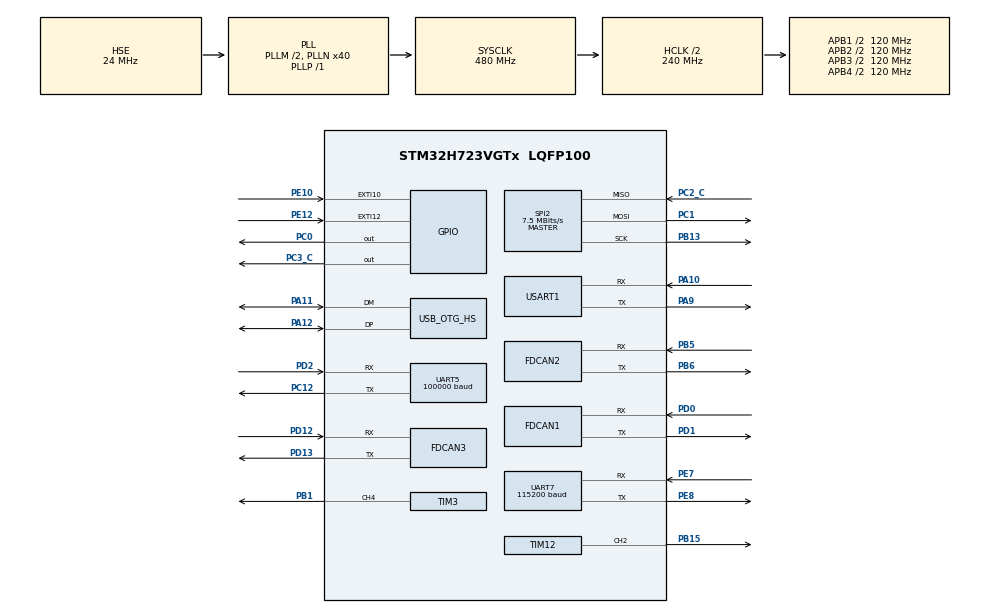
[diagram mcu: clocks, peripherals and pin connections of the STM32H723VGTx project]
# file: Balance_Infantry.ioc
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Dma.Request0=SPI2_RX
Dma.Request1=SPI2_TX
Dma.Request2=UART5_RX
Dma.Request3=USART1_RX
Dma.Request4=UART7_RX
Dma.Request5=UART7_TX
Dma.Request6=USART1_TX
Dma.SPI2_RX.0.Direction=DMA_PERIPH_TO_MEMORY
Dma.SPI2_RX.0.EventEnable=DISABLE
Dma.SPI2_RX.0.FIFOMode=DMA_FIFOMODE_DISABLE
Dma.SPI2_RX.0.Instance=DMA1_Stream3
Dma.SPI2_RX.0.MemDataAlignment=DMA_MDATAALIGN_BYTE
Dma.SPI2_RX.0.MemInc=DMA_MINC_ENABLE
Dma.SPI2_RX.0.Mode=DMA_NORMAL
Dma.SPI2_RX.0.PeriphDataAlignment=DMA_PDATAALIGN_BYTE
Dma.SPI2_RX.0.PeriphInc=DMA_PINC_DISABLE
Dma.SPI2_RX.0.Polarity=HAL_DMAMUX_REQ_GEN_RISING
Dma.SPI2_RX.0.Priority=DMA_PRIORITY_VERY_HIGH
Dma.SPI2_RX.0.RequestNumber=1
Dma.SPI2_RX.0.SignalID=NONE
Dma.SPI2_RX.0.SyncEnable=DISABLE
Dma.SPI2_RX.0.SyncPolarity=HAL_DMAMUX_SYNC_NO_EVENT
Dma.SPI2_RX.0.SyncRequestNumber=1
Dma.SPI2_RX.0.SyncSignalID=NONE
Dma.SPI2_TX.1.Direction=DMA_MEMORY_TO_PERIPH
Dma.SPI2_TX.1.EventEnable=DISABLE
Dma.SPI2_TX.1.FIFOMode=DMA_FIFOMODE_DISABLE
Dma.SPI2_TX.1.Instance=DMA1_Stream2
Dma.SPI2_TX.1.MemDataAlignment=DMA_MDATAALIGN_BYTE
Dma.SPI2_TX.1.MemInc=DMA_MINC_ENABLE
Dma.SPI2_TX.1.Mode=DMA_NORMAL
Dma.SPI2_TX.1.PeriphDataAlignment=DMA_PDATAALIGN_BYTE
Dma.SPI2_TX.1.PeriphInc=DMA_PINC_DISABLE
Dma.SPI2_TX.1.Polarity=HAL_DMAMUX_REQ_GEN_RISING
Dma.SPI2_TX.1.Priority=DMA_PRIORITY_HIGH
Dma.SPI2_TX.1.RequestNumber=1
Dma.SPI2_TX.1.SignalID=NONE
Dma.SPI2_TX.1.SyncEnable=DISABLE
Dma.SPI2_TX.1.SyncPolarity=HAL_DMAMUX_SYNC_NO_EVENT
Dma.SPI2_TX.1.SyncRequestNumber=1
Dma.SPI2_TX.1.SyncSignalID=NONE
Dma.UART5_RX.2.Direction=DMA_PERIPH_TO_MEMORY
Dma.UART5_RX.2.EventEnable=DISABLE
Dma.UART5_RX.2.FIFOMode=DMA_FIFOMODE_DISABLE
Dma.UART5_RX.2.Instance=DMA1_Stream1
Dma.UART5_RX.2.MemDataAlignment=DMA_MDATAALIGN_BYTE
Dma.UART5_RX.2.MemInc=DMA_MINC_ENABLE
Dma.UART5_RX.2.Mode=DMA_NORMAL
Dma.UART5_RX.2.PeriphDataAlignment=DMA_PDATAALIGN_BYTE
Dma.UART5_RX.2.PeriphInc=DMA_PINC_DISABLE
Dma.UART5_RX.2.Polarity=HAL_DMAMUX_REQ_GEN_RISING
Dma.UART5_RX.2.Priority=DMA_PRIORITY_LOW
Dma.UART5_RX.2.RequestNumber=1
Dma.UART5_RX.2.SignalID=NONE
Dma.UART5_RX.2.SyncEnable=DISABLE
Dma.UART5_RX.2.SyncPolarity=HAL_DMAMUX_SYNC_NO_EVENT
Dma.UART5_RX.2.SyncRequestNumber=1
Dma.UART5_RX.2.SyncSignalID=NONE
Dma.UART7_RX.4.Direction=DMA_PERIPH_TO_MEMORY
Dma.UART7_RX.4.EventEnable=DISABLE
Dma.UART7_RX.4.FIFOMode=DMA_FIFOMODE_DISABLE
Dma.UART7_RX.4.Instance=DMA2_Stream1
Dma.UART7_RX.4.MemDataAlignment=DMA_MDATAALIGN_BYTE
Dma.UART7_RX.4.MemInc=DMA_MINC_ENABLE
Dma.UART7_RX.4.Mode=DMA_NORMAL
Dma.UART7_RX.4.PeriphDataAlignment=DMA_PDATAALIGN_BYTE
Dma.UART7_RX.4.PeriphInc=DMA_PINC_DISABLE
Dma.UART7_RX.4.Polarity=HAL_DMAMUX_REQ_GEN_RISING
Dma.UART7_RX.4.Priority=DMA_PRIORITY_HIGH
Dma.UART7_RX.4.RequestNumber=1
Dma.UART7_RX.4.SignalID=NONE
Dma.UART7_RX.4.SyncEnable=DISABLE
Dma.UART7_RX.4.SyncPolarity=HAL_DMAMUX_SYNC_NO_EVENT
Dma.UART7_RX.4.SyncRequestNumber=1
Dma.UART7_RX.4.SyncSignalID=NONE
Dma.UART7_TX.5.Direction=DMA_MEMORY_TO_PERIPH
Dma.UART7_TX.5.EventEnable=DISABLE
Dma.UART7_TX.5.FIFOMode=DMA_FIFOMODE_DISABLE
Dma.UART7_TX.5.Instance=DMA2_Stream6
Dma.UART7_TX.5.MemDataAlignment=DMA_MDATAALIGN_BYTE
Dma.UART7_TX.5.MemInc=DMA_MINC_ENABLE
Dma.UART7_TX.5.Mode=DMA_NORMAL
Dma.UART7_TX.5.PeriphDataAlignment=DMA_PDATAALIGN_BYTE
Dma.UART7_TX.5.PeriphInc=DMA_PINC_DISABLE
Dma.UART7_TX.5.Polarity=HAL_DMAMUX_REQ_GEN_RISING
Dma.UART7_TX.5.Priority=DMA_PRIORITY_VERY_HIGH
Dma.UART7_TX.5.RequestNumber=1
Dma.UART7_TX.5.SignalID=NONE
Dma.UART7_TX.5.SyncEnable=DISABLE
Dma.UART7_TX.5.SyncPolarity=HAL_DMAMUX_SYNC_NO_EVENT
Dma.UART7_TX.5.SyncRequestNumber=1
Dma.UART7_TX.5.SyncSignalID=NONE
Dma.USART1_RX.3.Direction=DMA_PERIPH_TO_MEMORY
Dma.USART1_RX.3.EventEnable=DISABLE
Dma.USART1_RX.3.FIFOMode=DMA_FIFOMODE_DISABLE
Dma.USART1_RX.3.Instance=DMA1_Stream0
Dma.USART1_RX.3.MemDataAlignment=DMA_MDATAALIGN_BYTE
Dma.USART1_RX.3.MemInc=DMA_MINC_ENABLE
Dma.USART1_RX.3.Mode=DMA_NORMAL
Dma.USART1_RX.3.PeriphDataAlignment=DMA_PDATAALIGN_BYTE
Dma.USART1_RX.3.PeriphInc=DMA_PINC_DISABLE
Dma.USART1_RX.3.Polarity=HAL_DMAMUX_REQ_GEN_RISING
Dma.USART1_RX.3.Priority=DMA_PRIORITY_MEDIUM
Dma.USART1_RX.3.RequestNumber=1
Dma.USART1_RX.3.SignalID=NONE
Dma.USART1_RX.3.SyncEnable=DISABLE
Dma.USART1_RX.3.SyncPolarity=HAL_DMAMUX_SYNC_NO_EVENT
Dma.USART1_RX.3.SyncRequestNumber=1
Dma.USART1_RX.3.SyncSignalID=NONE
Dma.USART1_TX.6.Direction=DMA_MEMORY_TO_PERIPH
Dma.USART1_TX.6.EventEnable=DISABLE
Dma.USART1_TX.6.FIFOMode=DMA_FIFOMODE_DISABLE
Dma.USART1_TX.6.Instance=DMA1_Stream4
Dma.USART1_TX.6.MemDataAlignment=DMA_MDATAALIGN_BYTE
Dma.USART1_TX.6.MemInc=DMA_MINC_ENABLE
Dma.USART1_TX.6.Mode=DMA_NORMAL
Dma.USART1_TX.6.PeriphDataAlignment=DMA_PDATAALIGN_BYTE
Dma.USART1_TX.6.PeriphInc=DMA_PINC_DISABLE
Dma.USART1_TX.6.Polarity=HAL_DMAMUX_REQ_GEN_RISING
Dma.USART1_TX.6.Priority=DMA_PRIORITY_MEDIUM
Dma.USART1_TX.6.RequestNumber=1
Dma.USART1_TX.6.SignalID=NONE
Dma.USART1_TX.6.SyncEnable=DISABLE
Dma.USART1_TX.6.SyncPolarity=HAL_DMAMUX_SYNC_NO_EVENT
Dma.USART1_TX.6.SyncRequestNumber=1
Dma.USART1_TX.6.SyncSignalID=NONE
FDCAN1.AutoRetransmission=ENABLE
FDCAN1.CalculateBaudRateNominal=1000000
FDCAN1.CalculateTimeBitNominal=1000
FDCAN1.CalculateTimeQuantumNominal=25.0
FDCAN1.DataSyncJumpWidth=2
FDCAN1.DataTimeSeg1=13
FDCAN1.DataTimeSeg2=2
FDCAN1.ExtFiltersNbr=4
FDCAN1.NominalPrescaler=3
FDCAN1.NominalSyncJumpWidth=4
FDCAN1.NominalTimeSeg1=29
FDCAN1.NominalTimeSeg2=10
FDCAN1.ProtocolException=ENABLE
FDCAN1.RxBuffersNbr=2
FDCAN1.RxFifo0ElmtsNbr=8
FDCAN1.RxFifo1ElmtsNbr=8
FDCAN1.StdFiltersNbr=4
FDCAN1.TxBuffersNbr=8
FDCAN1.TxEventsNbr=8
FDCAN1.TxFifoQueueElmtsNbr=8
FDCAN2.AutoRetransmission=ENABLE
FDCAN2.CalculateBaudRateNominal=1000000
FDCAN2.CalculateTimeBitNominal=1000
FDCAN2.CalculateTimeQuantumNominal=25.0
FDCAN2.DataSyncJumpWidth=2
FDCAN2.DataTimeSeg1=13
FDCAN2.DataTimeSeg2=2
FDCAN2.ExtFiltersNbr=4
FDCAN2.MessageRAMOffset=0x406
FDCAN2.NominalPrescaler=3
FDCAN2.NominalSyncJumpWidth=4
FDCAN2.NominalTimeSeg1=29
FDCAN2.NominalTimeSeg2=10
FDCAN2.ProtocolException=ENABLE
FDCAN2.RxBuffersNbr=2
FDCAN2.RxFifo0ElmtsNbr=8
FDCAN2.RxFifo1ElmtsNbr=8
FDCAN2.StdFiltersNbr=4
FDCAN2.TxBuffersNbr=8
FDCAN2.TxEventsNbr=8
FDCAN2.TxFifoQueueElmtsNbr=8
FDCAN3.AutoRetransmission=ENABLE
FDCAN3.CalculateBaudRateNominal=1000000
FDCAN3.CalculateTimeBitNominal=1000
FDCAN3.CalculateTimeQuantumNominal=25.0
FDCAN3.DataSyncJumpWidth=2
FDCAN3.DataTimeSeg1=13
FDCAN3.DataTimeSeg2=2
FDCAN3.ExtFiltersNbr=4
FDCAN3.MessageRAMOffset=0x812
FDCAN3.NominalPrescaler=3
FDCAN3.NominalSyncJumpWidth=4
FDCAN3.NominalTimeSeg1=29
FDCAN3.NominalTimeSeg2=10
FDCAN3.ProtocolException=ENABLE
FDCAN3.RxBuffersNbr=2
FDCAN3.RxFifo0ElmtsNbr=8
FDCAN3.RxFifo1ElmtsNbr=8
FDCAN3.StdFiltersNbr=4
FDCAN3.TxBuffersNbr=8
FDCAN3.TxEventsNbr=8
FDCAN3.TxFifoQueueElmtsNbr=8
FREERTOS.INCLUDE_eTaskGetState=1
FREERTOS.INCLUDE_pcTaskGetTaskName=1
FREERTOS.INCLUDE_uxTaskGetStackHighWaterMark=1
FREERTOS.INCLUDE_vTaskCleanUpResources=1
FREERTOS.INCLUDE_vTaskDelayUntil=1
FREERTOS.INCLUDE_xQueueGetMutexHolder=1
FREERTOS.INCLUDE_xSemaphoreGetMutexHolder=1
FREERTOS.INCLUDE_xTaskAbortDelay=1
FREERTOS.INCLUDE_xTaskGetCurrentTaskHandle=1
FREERTOS.INCLUDE_xTaskGetHandle=1
FREERTOS.Tasks01=Check_Task,-1,256,Start_Check_Task,Default,NULL,Dynamic,NULL,NULL;Ins_Task,3,1024,Start_Ins_Task,Default,NULL,Dynamic,NULL,NULL;Chassis_Task,2,1024,Start_Chassis_Task,Default,NULL,Dynamic,NULL,NULL;Board_Can_Task,0,256,Start_Board_Can_Task,Default,NULL,Dynamic,NULL,NULL;Ref_Task,0,256,Start_Ref_Task,Default,NULL,Dynamic,NULL,NULL;Super_Cap_Task,1,256,Start_Super_Cap_Task,Default,NULL,Dynamic,NULL,NULL
FREERTOS.configTOTAL_HEAP_SIZE=24567
FREERTOS.configUSE_CO_ROUTINES=0
FREERTOS.configUSE_TIMERS=1
Mcu.Family=STM32H7
Mcu.Name=STM32H723VGTx
Mcu.Package=LQFP100
NVIC.DMA1_Stream0_IRQn=true\:5\:0\:false\:false\:true\:true\:false\:true\:true
NVIC.DMA1_Stream1_IRQn=true\:5\:0\:false\:false\:true\:true\:false\:true\:true
NVIC.DMA1_Stream2_IRQn=true\:5\:0\:false\:false\:true\:true\:false\:true\:true
NVIC.DMA1_Stream3_IRQn=true\:5\:0\:false\:false\:true\:true\:false\:true\:true
NVIC.DMA1_Stream4_IRQn=true\:5\:0\:false\:false\:true\:true\:false\:true\:true
NVIC.DMA2_Stream1_IRQn=true\:5\:0\:false\:false\:true\:true\:false\:true\:true
NVIC.DMA2_Stream6_IRQn=true\:5\:0\:false\:false\:true\:true\:false\:true\:true
NVIC.EXTI15_10_IRQn=true\:5\:0\:false\:false\:true\:true\:true\:true\:true
NVIC.FDCAN1_IT0_IRQn=true\:5\:0\:false\:false\:true\:true\:true\:true\:true
NVIC.FDCAN1_IT1_IRQn=true\:5\:0\:false\:false\:true\:true\:true\:true\:true
NVIC.FDCAN2_IT0_IRQn=true\:5\:0\:false\:false\:true\:true\:true\:true\:true
NVIC.FDCAN2_IT1_IRQn=true\:5\:0\:false\:false\:true\:true\:true\:true\:true
NVIC.FDCAN3_IT0_IRQn=true\:5\:0\:false\:false\:true\:true\:true\:true\:true
NVIC.FDCAN3_IT1_IRQn=true\:5\:0\:false\:false\:true\:true\:true\:true\:true
NVIC.OTG_HS_IRQn=true\:5\:0\:false\:false\:true\:true\:false\:true\:true
NVIC.PriorityGroup=NVIC_PRIORITYGROUP_4
NVIC.SPI2_IRQn=true\:5\:0\:false\:false\:true\:true\:false\:true\:true
NVIC.TIM2_IRQn=true\:15\:0\:false\:false\:true\:false\:false\:true\:true
NVIC.TimeBase=TIM2_IRQn
NVIC.TimeBaseIP=TIM2
NVIC.UART5_IRQn=true\:5\:0\:false\:false\:true\:true\:true\:true\:true
NVIC.UART7_IRQn=true\:5\:0\:false\:false\:true\:true\:true\:true\:true
NVIC.USART1_IRQn=true\:5\:0\:false\:false\:true\:true\:true\:true\:true
PA10.Mode=Asynchronous
PA10.Signal=USART1_RX
PA11.Mode=Device_Only_FS
PA11.Signal=USB_OTG_HS_DM
PA12.Mode=Device_Only_FS
PA12.Signal=USB_OTG_HS_DP
PA13(JTMS/SWDIO).Mode=Serial_Wire
PA13(JTMS/SWDIO).Signal=DEBUG_JTMS-SWDIO
PA14(JTCK/SWCLK).Mode=Serial_Wire
PA14(JTCK/SWCLK).Signal=DEBUG_JTCK-SWCLK
PA9.Mode=Asynchronous
PA9.Signal=USART1_TX
PB1.Signal=S_TIM3_CH4
PB13.Mode=Full_Duplex_Master
PB13.Signal=SPI2_SCK
PB15.Signal=S_TIM12_CH2
PB5.Mode=FDCAN_Activate
PB5.Signal=FDCAN2_RX
PB6.Mode=FDCAN_Activate
PB6.Signal=FDCAN2_TX
PC0.GPIO_Speed=GPIO_SPEED_FREQ_VERY_HIGH
PC0.PinState=GPIO_PIN_SET
PC0.Signal=GPIO_Output
PC1.Mode=Full_Duplex_Master
PC1.Signal=SPI2_MOSI
PC12.Mode=Asynchronous
PC12.Signal=UART5_TX
PC2_C.Mode=Full_Duplex_Master
PC2_C.Signal=SPI2_MISO
PC3_C.GPIO_Speed=GPIO_SPEED_FREQ_VERY_HIGH
PC3_C.PinState=GPIO_PIN_SET
PC3_C.Signal=GPIO_Output
PD0.Mode=FDCAN_Activate
PD0.Signal=FDCAN1_RX
PD1.Mode=FDCAN_Activate
PD1.Signal=FDCAN1_TX
PD12.Mode=FDCAN_Activate
PD12.Signal=FDCAN3_RX
PD13.Mode=FDCAN_Activate
PD13.Signal=FDCAN3_TX
PD2.Mode=Asynchronous
PD2.Signal=UART5_RX
PE10.Signal=GPXTI10
PE12.Signal=GPXTI12
PE7.Mode=Asynchronous
PE7.Signal=UART7_RX
PE8.Mode=Asynchronous
PE8.Signal=UART7_TX
PH0-OSC_IN.Mode=HSE-External-Oscillator
PH0-OSC_IN.Signal=RCC_OSC_IN
PH1-OSC_OUT.Mode=HSE-External-Oscillator
PH1-OSC_OUT.Signal=RCC_OSC_OUT
ProjectManager.HeapSize=0x2000
ProjectManager.StackSize=0x4000
ProjectManager.TargetToolchain=MDK-ARM V5.32
RCC.ADCFreq_Value=48375000
RCC.APB1Freq_Value=120000000
RCC.APB2Freq_Value=120000000
RCC.APB3Freq_Value=120000000
RCC.APB4Freq_Value=120000000
RCC.CortexFreq_Value=480000000
RCC.D1PPRE=RCC_APB3_DIV2
RCC.D2PPRE1=RCC_APB1_DIV2
RCC.D2PPRE2=RCC_APB2_DIV2
RCC.D3PPRE=RCC_APB4_DIV2
RCC.DIVM1=2
RCC.DIVN1=40
RCC.DIVP1=1
RCC.DIVQ1=4
RCC.HCLKFreq_Value=240000000
RCC.HPRE=RCC_HCLK_DIV2
RCC.HSE_VALUE=24000000
RCC.PLL2FRACN=0
RCC.PLL3FRACN=0
RCC.PLLFRACN=0
RCC.SYSCLKFreq_VALUE=480000000
RCC.SYSCLKSource=RCC_SYSCLKSOURCE_PLLCLK
RCC.USBFreq_Value=120000000
SH.S_TIM12_CH2.0=TIM12_CH2,PWM Generation2 CH2
SH.S_TIM3_CH4.0=TIM3_CH4,PWM Generation4 CH4
SPI2.BaudRatePrescaler=SPI_BAUDRATEPRESCALER_16
SPI2.CLKPhase=SPI_PHASE_2EDGE
SPI2.CLKPolarity=SPI_POLARITY_HIGH
SPI2.CalculateBaudRate=7.5 MBits/s
SPI2.DataSize=SPI_DATASIZE_8BIT
SPI2.Direction=SPI_DIRECTION_2LINES
SPI2.Mode=SPI_MODE_MASTER
SPI2.VirtualType=VM_MASTER
TIM12.Channel-PWM\ Generation2\ CH2=TIM_CHANNEL_2
TIM12.Period=10000-1
TIM12.Prescaler=12-1
TIM3.Channel-PWM\ Generation4\ CH4=TIM_CHANNEL_4
TIM3.Period=10000-1
TIM3.Prescaler=24-1
UART5.BaudRate=100000
UART5.Parity=PARITY_EVEN
UART5.StopBits=UART_STOPBITS_1
UART5.WordLength=WORDLENGTH_9B
UART7.BaudRate=115200
USART1.VirtualMode-Asynchronous=VM_ASYNC
USB_DEVICE.CLASS_NAME_HS=CDC
USB_DEVICE.VirtualMode=Cdc
USB_DEVICE.VirtualModeHS=Cdc_HS
USB_OTG_HS.VirtualMode-Device_Only_FS=Device_Only_FS
VP_CRC_VS_CRC.Mode=CRC_Activate
VP_FREERTOS_VS_CMSIS_V1.Mode=CMSIS_V1
VP_MEMORYMAP_VS_MEMORYMAP.Mode=CurAppReg
VP_SYS_VS_tim2.Mode=TIM2
VP_USB_DEVICE_VS_USB_DEVICE_CDC_HS.Mode=CDC_HS
board=custom

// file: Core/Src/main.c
/* USER CODE BEGIN Header */
/**
  ******************************************************************************
  * @file           : main.c
  * @brief          : Main program body
  ******************************************************************************
  * @attention
  *
  * Copyright (c) 2026 STMicroelectronics.
  * All rights reserved.
  *
  * This software is licensed under terms that can be found in the LICENSE file
  * in the root directory of this software component.
  * If no LICENSE file comes with this software, it is provided AS-IS.
  *
  ******************************************************************************
  */
/* USER CODE END Header */
#include "main.h"
#include "cmsis_os.h"
#include "crc.h"
#include "dma.h"
#include "fdcan.h"
#include "spi.h"
#include "tim.h"
#include "usart.h"
#include "usb_device.h"
#include "gpio.h"

/* USER CODE BEGIN Includes */

#include "bsp_dwt.h"
#include "bsp_can.h"
#include "bsp_buzzer.h"
#include "BMI088driver.h"

/* USER CODE END Includes */

void SystemClock_Config(void);
void MX_FREERTOS_Init(void);

int main(void)
{

  /* MCU Configuration--------------------------------------------------------*/

  /* Reset of all peripherals, Initializes the Flash interface and the Systick. */
  HAL_Init();

  /* Configure the system clock */
  SystemClock_Config();

  /* Initialize all configured peripherals */
  MX_GPIO_Init();
  MX_DMA_Init();
  MX_TIM3_Init();
  MX_TIM12_Init();
  MX_SPI2_Init();
  MX_FDCAN1_Init();
  MX_FDCAN2_Init();
  MX_FDCAN3_Init();
  MX_UART5_Init();
  MX_USART1_UART_Init();
  MX_UART7_Init();
  MX_CRC_Init();
  /* USER CODE BEGIN 2 */

	//BMI088
	DWT_Init(480);
	while(BMI088_init(&hspi2, 0) != BMI088_NO_ERROR){;}

	//BUZZER
	HAL_TIM_Base_Start(&htim12);
	HAL_TIM_PWM_Start(&htim12, TIM_CHANNEL_2);
	Buzzer_Off();

	//CAN
	FDCAN_Init();

  /* USER CODE END 2 */

  /* Call init function for freertos objects (in cmsis_os2.c) */
  MX_FREERTOS_Init();

  /* Start scheduler */
  osKernelStart();

  /* We should never get here as control is now taken by the scheduler */

  /* Infinite loop */
  while (1)
  {

  }
}

void SystemClock_Config(void)
{
  RCC_OscInitTypeDef RCC_OscInitStruct = {0};
  RCC_ClkInitTypeDef RCC_ClkInitStruct = {0};

  /** Supply configuration update enable
  */
  HAL_PWREx_ConfigSupply(PWR_LDO_SUPPLY);

  /** Configure the main internal regulator output voltage
  */
  __HAL_PWR_VOLTAGESCALING_CONFIG(PWR_REGULATOR_VOLTAGE_SCALE0);

  while(!__HAL_PWR_GET_FLAG(PWR_FLAG_VOSRDY)) {}

  /** Initializes the RCC Oscillators according to the specified parameters
  * in the RCC_OscInitTypeDef structure.
  */
  RCC_OscInitStruct.OscillatorType = RCC_OSCILLATORTYPE_HSE;
  RCC_OscInitStruct.HSEState = RCC_HSE_ON;
  RCC_OscInitStruct.PLL.PLLState = RCC_PLL_ON;
  RCC_OscInitStruct.PLL.PLLSource = RCC_PLLSOURCE_HSE;
  RCC_OscInitStruct.PLL.PLLM = 2;
  RCC_OscInitStruct.PLL.PLLN = 40;
  RCC_OscInitStruct.PLL.PLLP = 1;
  RCC_OscInitStruct.PLL.PLLQ = 4;
  RCC_OscInitStruct.PLL.PLLR = 2;
  RCC_OscInitStruct.PLL.PLLRGE = RCC_PLL1VCIRANGE_3;
  RCC_OscInitStruct.PLL.PLLVCOSEL = RCC_PLL1VCOWIDE;
  RCC_OscInitStruct.PLL.PLLFRACN = 0;
  if (HAL_RCC_OscConfig(&RCC_OscInitStruct) != HAL_OK)
  {
    Error_Handler();
  }

  /** Initializes the CPU, AHB and APB buses clocks
  */
  RCC_ClkInitStruct.ClockType = RCC_CLOCKTYPE_HCLK|RCC_CLOCKTYPE_SYSCLK
                              |RCC_CLOCKTYPE_PCLK1|RCC_CLOCKTYPE_PCLK2
                              |RCC_CLOCKTYPE_D3PCLK1|RCC_CLOCKTYPE_D1PCLK1;
  RCC_ClkInitStruct.SYSCLKSource = RCC_SYSCLKSOURCE_PLLCLK;
  RCC_ClkInitStruct.SYSCLKDivider = RCC_SYSCLK_DIV1;
  RCC_ClkInitStruct.AHBCLKDivider = RCC_HCLK_DIV2;
  RCC_ClkInitStruct.APB3CLKDivider = RCC_APB3_DIV2;
  RCC_ClkInitStruct.APB1CLKDivider = RCC_APB1_DIV2;
  RCC_ClkInitStruct.APB2CLKDivider = RCC_APB2_DIV2;
  RCC_ClkInitStruct.APB4CLKDivider = RCC_APB4_DIV2;

  if (HAL_RCC_ClockConfig(&RCC_ClkInitStruct, FLASH_LATENCY_3) != HAL_OK)
  {
    Error_Handler();
  }
}

void HAL_TIM_PeriodElapsedCallback(TIM_HandleTypeDef *htim)
{
  if (htim->Instance == TIM2)
  {
    HAL_IncTick();
  }
}

void Error_Handler(void)
{
  __disable_irq();
  while (1)
  {
  }
}

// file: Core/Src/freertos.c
/* USER CODE BEGIN Header */
/**
  ******************************************************************************
  * File Name          : freertos.c
  * Description        : Code for freertos applications
  ******************************************************************************
  * @attention
  *
  * Copyright (c) 2026 STMicroelectronics.
  * All rights reserved.
  *
  * This software is licensed under terms that can be found in the LICENSE file
  * in the root directory of this software component.
  * If no LICENSE file comes with this software, it is provided AS-IS.
  *
  ******************************************************************************
  */
/* USER CODE END Header */

#include "FreeRTOS.h"
#include "task.h"
#include "main.h"
#include "cmsis_os.h"

/* USER CODE BEGIN Includes */

#include "Ins_Task.h"
#include "Ref_Task.h"
#include "Check_Task.h"
#include "Chassis_Task.h"
#include "Super_Cap_Task.h"
#include "Board_Can_Task.h"

/* USER CODE END Includes */

osThreadId Check_TaskHandle;
osThreadId Ins_TaskHandle;
osThreadId Chassis_TaskHandle;
osThreadId Board_Can_TaskHandle;
osThreadId Ref_TaskHandle;
osThreadId Super_Cap_TaskHandle;

void Start_Check_Task(void const * argument);
void Start_Ins_Task(void const * argument);
void Start_Chassis_Task(void const * argument);
void Start_Board_Can_Task(void const * argument);
void Start_Ref_Task(void const * argument);
void Start_Super_Cap_Task(void const * argument);

extern void MX_USB_DEVICE_Init(void);
void MX_FREERTOS_Init(void); /* (MISRA C 2004 rule 8.1) */

/* GetIdleTaskMemory prototype (linked to static allocation support) */
void vApplicationGetIdleTaskMemory( StaticTask_t **ppxIdleTaskTCBBuffer, StackType_t **ppxIdleTaskStackBuffer, uint32_t *pulIdleTaskStackSize );

/* GetTimerTaskMemory prototype (linked to static allocation support) */
void vApplicationGetTimerTaskMemory( StaticTask_t **ppxTimerTaskTCBBuffer, StackType_t **ppxTimerTaskStackBuffer, uint32_t *pulTimerTaskStackSize );

/* USER CODE BEGIN GET_IDLE_TASK_MEMORY */
static StaticTask_t xIdleTaskTCBBuffer;
static StackType_t xIdleStack[configMINIMAL_STACK_SIZE];

void vApplicationGetIdleTaskMemory( StaticTask_t **ppxIdleTaskTCBBuffer, StackType_t **ppxIdleTaskStackBuffer, uint32_t *pulIdleTaskStackSize )
{
  *ppxIdleTaskTCBBuffer = &xIdleTaskTCBBuffer;
  *ppxIdleTaskStackBuffer = &xIdleStack[0];
  *pulIdleTaskStackSize = configMINIMAL_STACK_SIZE;
  /* place for user code */
}
/* USER CODE END GET_IDLE_TASK_MEMORY */

/* USER CODE BEGIN GET_TIMER_TASK_MEMORY */
static StaticTask_t xTimerTaskTCBBuffer;
static StackType_t xTimerStack[configTIMER_TASK_STACK_DEPTH];

void vApplicationGetTimerTaskMemory( StaticTask_t **ppxTimerTaskTCBBuffer, StackType_t **ppxTimerTaskStackBuffer, uint32_t *pulTimerTaskStackSize )
{
  *ppxTimerTaskTCBBuffer = &xTimerTaskTCBBuffer;
  *ppxTimerTaskStackBuffer = &xTimerStack[0];
  *pulTimerTaskStackSize = configTIMER_TASK_STACK_DEPTH;
  /* place for user code */
}
/* USER CODE END GET_TIMER_TASK_MEMORY */

void MX_FREERTOS_Init(void) {

  /* Create the thread(s) */
  /* definition and creation of Check_Task */
  osThreadDef(Check_Task, Start_Check_Task, osPriorityBelowNormal, 0, 256);
  Check_TaskHandle = osThreadCreate(osThread(Check_Task), NULL);

  /* definition and creation of Ins_Task */
  osThreadDef(Ins_Task, Start_Ins_Task, osPriorityRealtime, 0, 1024);
  Ins_TaskHandle = osThreadCreate(osThread(Ins_Task), NULL);

  /* definition and creation of Chassis_Task */
  osThreadDef(Chassis_Task, Start_Chassis_Task, osPriorityHigh, 0, 1024);
  Chassis_TaskHandle = osThreadCreate(osThread(Chassis_Task), NULL);

  /* definition and creation of Board_Can_Task */
  osThreadDef(Board_Can_Task, Start_Board_Can_Task, osPriorityNormal, 0, 256);
  Board_Can_TaskHandle = osThreadCreate(osThread(Board_Can_Task), NULL);

  /* definition and creation of Ref_Task */
  osThreadDef(Ref_Task, Start_Ref_Task, osPriorityNormal, 0, 256);
  Ref_TaskHandle = osThreadCreate(osThread(Ref_Task), NULL);

  /* definition and creation of Super_Cap_Task */
  osThreadDef(Super_Cap_Task, Start_Super_Cap_Task, osPriorityAboveNormal, 0, 256);
  Super_Cap_TaskHandle = osThreadCreate(osThread(Super_Cap_Task), NULL);

}

void Start_Check_Task(void const * argument)
{
  /* init code for USB_DEVICE */
  MX_USB_DEVICE_Init();
  /* USER CODE BEGIN Start_Check_Task */

	Check_Init();

  /* Infinite loop */
  for(;;)
  {
		Check_Task();

    osDelay(10);
  }
  /* USER CODE END Start_Check_Task */
}

void Start_Ins_Task(void const * argument)
{
  /* USER CODE BEGIN Start_Ins_Task */

	INS_Init();

  /* Infinite loop */
  for(;;)
  {
		INS_Task();

    osDelay(1);
  }
  /* USER CODE END Start_Ins_Task */
}

void Start_Chassis_Task(void const * argument)
{
  /* USER CODE BEGIN Start_Chassis_Task */

	Chassis_Init();

  /* Infinite loop */
  for(;;)
  {
		Chassis_Task();

    osDelay(1);
  }
  /* USER CODE END Start_Chassis_Task */
}

void Start_Board_Can_Task(void const * argument)
{
  /* USER CODE BEGIN Start_Board_Can_Task */

	Board_Can_Init();

  /* Infinite loop */
  for(;;)
  {
		Board_Can_Task();

    osDelay(1);
  }
  /* USER CODE END Start_Board_Can_Task */
}

void Start_Ref_Task(void const * argument)
{
  /* USER CODE BEGIN Start_Ref_Task */

	Ref_Init();

  /* Infinite loop */
  for(;;)
  {
		Ref_Task();

    osDelay(5);
  }
  /* USER CODE END Start_Ref_Task */
}

void Start_Super_Cap_Task(void const * argument)
{
  /* USER CODE BEGIN Start_Super_Cap_Task */

	Super_Cap_Init();

  /* Infinite loop */
  for(;;)
  {
		Super_Cap_Task();

    osDelay(1);
  }
  /* USER CODE END Start_Super_Cap_Task */
}
